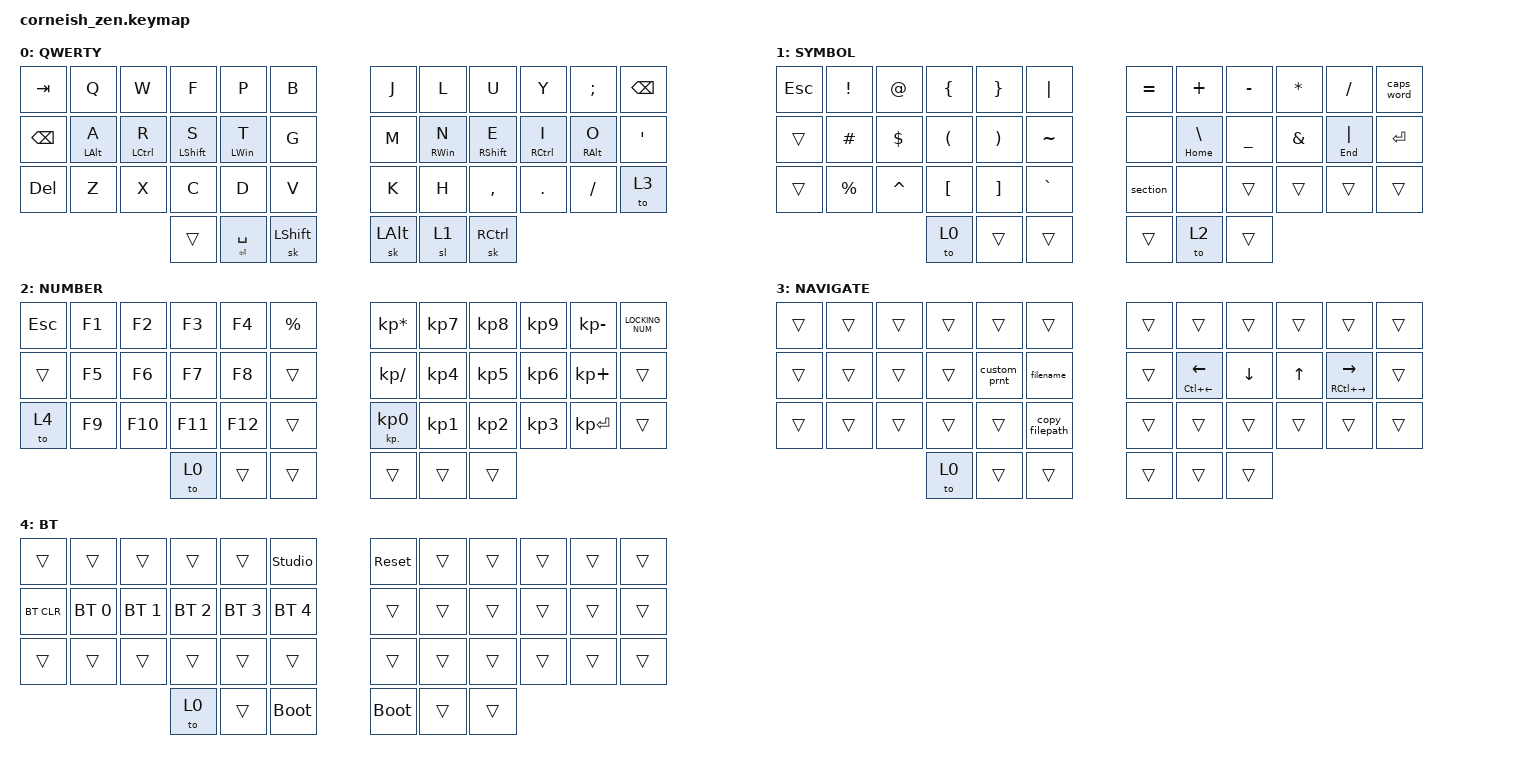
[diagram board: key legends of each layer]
#include <behaviors.dtsi>
#include <dt-bindings/zmk/bt.h>
#include <dt-bindings/zmk/keys.h>

/ {
    chosen {
        zmk,physical-layout = &foostan_corne_6col_layout;

        // zmk,physical-layout = &foostan_corne_5col_layout;
    };
};

/ {
    macros {
        filename: filename {
            compatible = "zmk,behavior-macro";
            #binding-cells = <0>;
            bindings = <&kp F2 &kp LC(A) &kp LC(C) &kp ESC>;
            label = "FILENAME";
        };

        custom_prnt: custom_prnt {
            compatible = "zmk,behavior-macro";
            #binding-cells = <0>;
            bindings = <&kp LG(LS(S))>;
            label = "CUSTOM_PRNT";
        };

        copy_filepath: copy_filepath {
            compatible = "zmk,behavior-macro";
            #binding-cells = <0>;
            bindings = <&kp LS(LC(C))>;
            label = "COPY_FILEPATH";
        };

        section: section {
            compatible = "zmk,behavior-macro";
            #binding-cells = <0>;
            bindings =
                <&macro_press>,
                <&kp LALT>,
                <&macro_tap>,
                <&kp KP_N0 &kp KP_N1 &kp KP_N6 &kp KP_N7>,
                <&macro_release>,
                <&kp LEFT_ALT>;

            label = "SECTION";
        };
    };

    keymap {
        compatible = "zmk,keymap";

        default_layer {
            display-name = "QWERTY";

            // --------------------------------------------------------------------------------
            // |  TAB |  Q  |  W  |  E  |  R  |  T  |   |  Y  |  U   |  I  |  O  |  P  | BSPC |
            // | CTRL |  A  |  S  |  D  |  F  |  G  |   |  H  |  J   |  K  |  L  |  ;  |  '   |
            // | SHFT |  Z  |  X  |  C  |  V  |  B  |   |  N  |  M   |  ,  |  .  |  /  | ESC  |
            //                    | GUI | LWR | SPC |   | ENT | RSE  | ALT |

            bindings = <
&kp TAB        &kp Q       &kp W        &kp F        &kp P           &kp B        &kp J     &kp L            &kp U        &kp Y        &kp SEMI    &kp BSPC
&kp BACKSPACE  &mt LALT A  &mt LCTRL R  &mt LSHFT S  &mt LWIN T      &kp G        &kp M     &mt RWIN N       &mt RSHFT E  &mt RCTRL I  &mt RALT O  &kp SQT
&kp DEL        &kp Z       &kp X        &kp C        &kp D           &kp V        &kp K     &kp H            &kp COMMA    &kp DOT      &kp FSLH    &to 3
                                        &trans       &mt ENTER SPACE &sk LSHFT &sk LALT &sl 1  &sk RCTRL
            >;
        };

        symbol_1 {
            display-name = "SYMBOL";

            // -----------------------------------------------------------------------------------------
            // |  TAB |  1  |  2  |  3  |  4  |  5  |   |  6  |  7  |  8  |  9  |  0  | BSPC |
            // | BTCLR| BT1 | BT2 | BT3 | BT4 | BT5 |   | LFT | DWN |  UP | RGT |     |Studio|
            // | SHFT |     |     |     |     |     |   |     |     |     |     |     |      |
            //                    | GUI |     | SPC |   | ENT |     | ALT |

            bindings = <
&kp ESC  &kp EXCLAMATION  &kp AT_SIGN  &kp LEFT_BRACE        &kp RIGHT_BRACE        &kp PIPE     &kp EQUAL  &kp PLUS            &kp MINUS       &kp ASTERISK   &kp SLASH     &caps_word
&trans   &kp HASH         &kp DOLLAR   &kp LEFT_PARENTHESIS  &kp RIGHT_PARENTHESIS  &kp TILDE    &none      &mt HOME BACKSLASH  &kp UNDERSCORE  &kp AMPERSAND  &mt END PIPE  &kp RETURN
&trans   &kp PERCENT      &kp CARET    &kp LEFT_BRACKET      &kp RIGHT_BRACKET      &kp GRAVE    &section   &none               &trans          &trans         &trans        &trans
                                       &to 0                 &trans                 &trans       &trans     &to 2               &trans
            >;
        };

        number_2 {
            display-name = "NUMBER";

            // -----------------------------------------------------------------------------------------
            // |  TAB |  !  |  @  |  #  |  $  |  %  |   |  ^  |  &  |  *  |  (  |  )  | BSPC |
            // | CTRL |     |     |     |     |     |   |  -  |  =  |  [  |  ]  |  \  |  `   |
            // | SHFT |     |     |     |     |     |   |  _  |  +  |  {  |  }  | "|" |  ~   |
            //                    | GUI |     | SPC |   | ENT |     | ALT |

            bindings = <
&kp ESCAPE  &kp F1  &kp F2   &kp F3   &kp F4   &kp PRCNT    &kp KP_MULTIPLY  &kp KP_N7        &kp KP_NUMBER_8  &kp KP_NUMBER_9  &kp KP_MINUS  &kp LOCKING_NUM
&trans      &kp F5  &kp F6   &kp F7   &kp F8   &trans       &kp KP_DIVIDE    &kp KP_NUMBER_4  &kp KP_N5        &kp KP_N6        &kp KP_PLUS   &trans
&to 4       &kp F9  &kp F10  &kp F11  &kp F12  &trans       &mt KP_DOT KP_N0 &kp KP_N1        &kp KP_N2        &kp KP_N3        &kp KP_ENTER  &trans
                             &to 0    &trans   &trans       &trans           &trans           &trans
            >;
        };

        navigate_3 {
            bindings = <
&trans  &trans  &trans  &trans  &trans        &trans            &trans  &trans             &trans    &trans  &trans               &trans
&trans  &trans  &trans  &trans  &custom_prnt  &filename         &trans  &mt LC(LEFT) LEFT  &kp DOWN  &kp UP  &mt RC(RIGHT) RIGHT  &trans
&trans  &trans  &trans  &trans  &trans        &copy_filepath    &trans  &trans             &trans    &trans  &trans               &trans
                        &to 0   &trans        &trans            &trans  &trans             &trans
            >;

            label = "NAVIGATE";
        };

        keyboard_4 {
            display-name = "BT";
            bindings = <
&trans      &trans        &trans        &trans        &trans        &studio_unlock    &sys_reset   &trans  &trans  &trans  &trans  &trans
&bt BT_CLR  &bt BT_SEL 0  &bt BT_SEL 1  &bt BT_SEL 2  &bt BT_SEL 3  &bt BT_SEL 4      &trans       &trans  &trans  &trans  &trans  &trans
&trans      &trans        &trans        &trans        &trans        &trans            &trans       &trans  &trans  &trans  &trans  &trans
                                        &to 0         &trans        &bootloader       &bootloader  &trans  &trans
            >;
        };
    };
};
